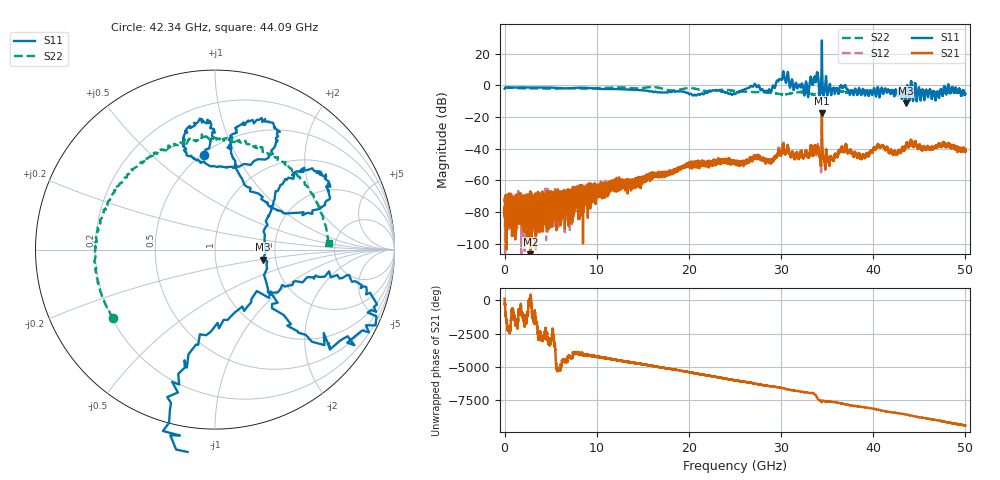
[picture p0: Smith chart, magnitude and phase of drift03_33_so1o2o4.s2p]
!Created with skrf (http://scikit-rf.org).
# Hz S RI R 50.0
!freq ReS11 ImS11 ReS21 ImS21 ReS12 ImS12 ReS22 ImS22
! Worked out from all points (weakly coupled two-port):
!   10000 points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, 5.3 MHz to 50 GHz, reference 50 ohm
!   highest |S21| = -17.57 dB at 34.43 GHz (marker M1); lowest = -106.8 dB at 2.81 GHz (marker M2)
!   lowest |S11| = -11.3 dB at 43.53 GHz (marker M3), VSWR 1.74, Z = 85.4 - j10.2 ohm
!   |S11| at or under -10 dB: 43.49168 GHz to 43.55133 GHz (59.65 MHz wide, 0.137 % of centre); 44.70782 GHz to 44.7111 GHz (3.278 MHz wide, 0.00733 % of centre)
!   |S22| runs from -5.8 to -1.1 dB; largest |S21 - S12| = 0.03
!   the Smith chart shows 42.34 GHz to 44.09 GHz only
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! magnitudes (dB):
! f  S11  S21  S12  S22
! 5.3 MHz  -2.1  -76.7  -81.0  -1.3
! 2.81 GHz  -1.4  -106.8  -74.8  -2.0
! 8.34 GHz  -1.5  -66.2  -68.8  -2.1
! 16.67 GHz  -4.4  -56.3  -55.8  -1.5
! 20.33 GHz  -5.9  -50.7  -50.4  -1.8
! 25.01 GHz  -5.5  -48.9  -49.8  -3.5
! 27.02 GHz  -0.4  -45.4  -45.8  -4.2
! 28.72 GHz  -2.5  -48.1  -48.2  -4.5
! 30.14 GHz  4.4  -40.1  -40.4  -5.7
! 32.74 GHz  2.0  -42.1  -42.0  -4.6
! 33.34 GHz  2.6  -40.2  -40.6  -5.5
! 33.82 GHz  4.0  -41.6  -41.9  -5.7
! 34.43 GHz  28.4  -17.6  -19.0  -4.6
! 35.31 GHz  0.7  -47.5  -46.8  -3.4
! 36.85 GHz  -0.5  -41.8  -41.0  -4.2
! 38.87 GHz  -2.4  -44.3  -43.8  -3.2
! 40.62 GHz  -5.3  -38.2  -38.4  -4.0
! 41.67 GHz  -3.0  -41.9  -42.2  -3.3
! 43.53 GHz  -11.3  -38.2  -39.1  -4.2
! 46.94 GHz  -3.9  -38.1  -38.5  -4.9
! 48.32 GHz  -4.4  -38.4  -38.5  -4.6
! 50 GHz  -5.3  -40.2  -40.2  -4.5
